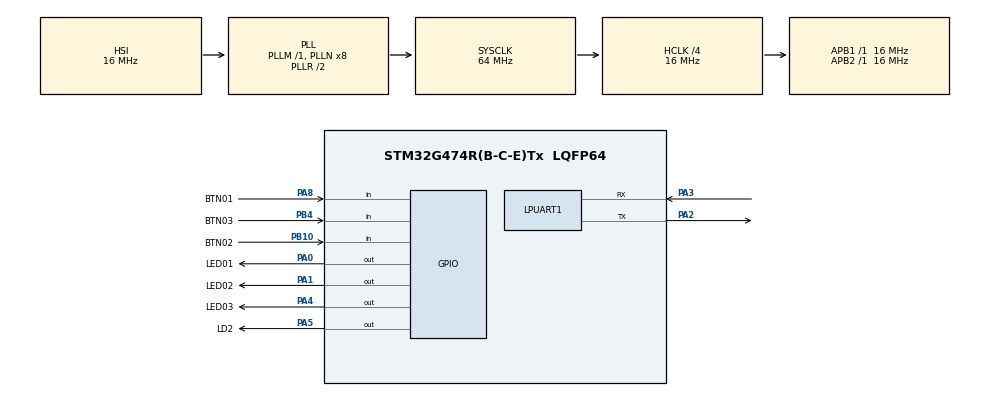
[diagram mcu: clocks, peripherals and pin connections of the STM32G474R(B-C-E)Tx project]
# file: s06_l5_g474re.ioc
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Mcu.Family=STM32G4
Mcu.Name=STM32G474R(B-C-E)Tx
Mcu.Package=LQFP64
NVIC.PriorityGroup=NVIC_PRIORITYGROUP_4
NVIC.TIM1_BRK_TIM15_IRQn=true\:15\:0\:false\:false\:true\:false\:true\:true
NVIC.TimeBase=TIM1_BRK_TIM15_IRQn
NVIC.TimeBaseIP=TIM15
PA0.GPIO_Label=LED01
PA0.Signal=GPIO_Output
PA1.GPIO_Label=LED02
PA1.Signal=GPIO_Output
PA13.Mode=Serial_Wire
PA13.Signal=SYS_JTMS-SWDIO
PA14.Mode=Serial_Wire
PA14.Signal=SYS_JTCK-SWCLK
PA2.Mode=Asynchronous
PA2.Signal=LPUART1_TX
PA3.Mode=Asynchronous
PA3.Signal=LPUART1_RX
PA4.GPIO_Label=LED03
PA4.Signal=GPIO_Output
PA5.GPIO_Label=LD2
PA5.Signal=GPIO_Output
PA8.GPIO_Label=BTN01
PA8.GPIO_PuPd=GPIO_PULLUP
PA8.Signal=GPIO_Input
PB10.GPIO_Label=BTN02
PB10.GPIO_PuPd=GPIO_PULLUP
PB10.Signal=GPIO_Input
PB4.GPIO_Label=BTN03
PB4.GPIO_PuPd=GPIO_PULLUP
PB4.Signal=GPIO_Input
ProjectManager.HeapSize=0x200
ProjectManager.StackSize=0x400
ProjectManager.TargetToolchain=STM32CubeIDE
RCC.ADC12Freq_Value=64000000
RCC.ADC345Freq_Value=64000000
RCC.AHBCLKDivider=RCC_SYSCLK_DIV4
RCC.AHBFreq_Value=16000000
RCC.APB1Freq_Value=16000000
RCC.APB1TimFreq_Value=16000000
RCC.APB2Freq_Value=16000000
RCC.APB2TimFreq_Value=16000000
RCC.CortexFreq_Value=16000000
RCC.EXTERNAL_CLOCK_VALUE=12288000
RCC.HCLKFreq_Value=16000000
RCC.HSE_VALUE=24000000
RCC.HSI48_VALUE=48000000
RCC.HSI_VALUE=16000000
RCC.LSE_VALUE=32768
RCC.RTCClockSelection=RCC_RTCCLKSOURCE_LSE
RCC.SYSCLKFreq_VALUE=64000000
RCC.SYSCLKSource=RCC_SYSCLKSOURCE_PLLCLK
RCC.USBFreq_Value=64000000
RCC.VCOOutputFreq_Value=128000000
VP_SYS_VS_DBSignals.Mode=DisableDeadBatterySignals
VP_SYS_VS_tim15.Mode=TIM15
board=NUCLEO-G474RE

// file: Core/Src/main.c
/* USER CODE BEGIN Header */
/**
  ******************************************************************************
  * @file           : main.c
  * @brief          : Main program body
  ******************************************************************************
  * @attention
  *
  * Copyright (c) 2026 STMicroelectronics.
  * All rights reserved.
  *
  * This software is licensed under terms that can be found in the LICENSE file
  * in the root directory of this software component.
  * If no LICENSE file comes with this software, it is provided AS-IS.
  *
  ******************************************************************************

  */
/* USER CODE END Header */
#include "main.h"

/* USER CODE BEGIN Includes */
#include <stdio.h>
#include <string.h>
#include "FreeRTOS.h"
#include "task.h"
#include <queue.h>
/* USER CODE END Includes */

UART_HandleTypeDef hlpuart1;

/* USER CODE BEGIN PV */

UBaseType_t xWaterMark01 = 0, xWaterMark02 = 0, xWaterMark03 = 0, xWaterMark04 = 0;

QueueHandle_t xQueue01 = NULL, xQueue02 = NULL, xQueue03 = NULL;

QueueSetHandle_t xQueueSet01 = NULL;

/* USER CODE END PV */

void SystemClock_Config(void);
static void MX_GPIO_Init(void);
static void MX_LPUART1_UART_Init(void);

/* USER CODE BEGIN 0 */

/* Hardware realted functions */

// Led interno da NUCLEO-G474RE
void LedLD2On(){
	HAL_GPIO_WritePin(LD2_GPIO_Port, LD2_Pin, GPIO_PIN_SET);
}

void LedLD2Off(){
	HAL_GPIO_WritePin(LD2_GPIO_Port, LD2_Pin, GPIO_PIN_RESET);
}

// PA0
void Led01On(){
	HAL_GPIO_WritePin(LED01_GPIO_Port, LED01_Pin, GPIO_PIN_SET);
}

void Led01Off(){
	HAL_GPIO_WritePin(LED01_GPIO_Port, LED01_Pin, GPIO_PIN_RESET);
}

// PA1
void Led02On(){
	HAL_GPIO_WritePin(LED02_GPIO_Port, LED02_Pin, GPIO_PIN_SET);
}

void Led02Off(){
	HAL_GPIO_WritePin(LED02_GPIO_Port, LED02_Pin, GPIO_PIN_RESET);
}

// PA4
void Led03On(){
	HAL_GPIO_WritePin(LED03_GPIO_Port, LED03_Pin, GPIO_PIN_SET);
}

void Led03Off(){
	HAL_GPIO_WritePin(LED03_GPIO_Port, LED03_Pin, GPIO_PIN_RESET);
}

/* Local functions*/

/* Tasks */
void TaskEntree(void *pvParams){
	char *pcMenu = "Entree Manu\n";

	while (1){
		// retorna a quantidade mínima de espaço livre que restou na pilha
		xWaterMark01 = uxTaskGetStackHighWaterMark( NULL );

		// Logica do botão presionado
		if(HAL_GPIO_ReadPin(BTN01_GPIO_Port, BTN01_Pin) == GPIO_PIN_RESET){

			// Enviando para a fila
			xQueueSend(xQueue01, &pcMenu, 0);
			vTaskDelay(pdMS_TO_TICKS(250));
			Led01On();

			// Debounce
			while (HAL_GPIO_ReadPin(BTN01_GPIO_Port, BTN01_Pin) == GPIO_PIN_RESET){
				vTaskDelay(pdMS_TO_TICKS(10));
			}
			vTaskDelay(pdMS_TO_TICKS(50));
		}
	}
}

void TaskMainCouser(void *pvParams){
	char *pcMenu = "Main Course\n";

	while (1){
		// retorna a quantidade mínima de espaço livre que restou na pilha
		xWaterMark02 = uxTaskGetStackHighWaterMark( NULL );

		// Logica do botão presionado
		if(HAL_GPIO_ReadPin(BTN02_GPIO_Port, BTN02_Pin) == GPIO_PIN_RESET){

			// Enviando para a fila
			xQueueSend(xQueue02, &pcMenu, 0);
			vTaskDelay(pdMS_TO_TICKS(250));
			Led02On();

			// Debounce
			while (HAL_GPIO_ReadPin(BTN02_GPIO_Port, BTN02_Pin) == GPIO_PIN_RESET){
				vTaskDelay(pdMS_TO_TICKS(10));
			}
			vTaskDelay(pdMS_TO_TICKS(50));
		}
	}
}

void TaskDessert(void *pvParams){
	char *pcMenu = "Dessert Menu\n";

	while (1){
		// retorna a quantidade mínima de espaço livre que restou na pilha
		xWaterMark03 = uxTaskGetStackHighWaterMark( NULL );

		// Logica do botão presionado
		if(HAL_GPIO_ReadPin(BTN03_GPIO_Port, BTN03_Pin) == GPIO_PIN_RESET){

			// Enviando para a fila
			xQueueSend(xQueue03, &pcMenu, 0);
			vTaskDelay(pdMS_TO_TICKS(250));
			Led03On();

			// Debounce
			while (HAL_GPIO_ReadPin(BTN03_GPIO_Port, BTN03_Pin) == GPIO_PIN_RESET){
				vTaskDelay(pdMS_TO_TICKS(10));
			}
			vTaskDelay(pdMS_TO_TICKS(50));
		}
	}
}

void TaskPrinter(void *pvParams){
	char *pcMenu;
	QueueSetMemberHandle_t xActiveMember;
	xQueueSet01 = xQueueCreateSet(3+3+3);

	// Adicionando as filas na QueueSet
	xQueueAddToSet(xQueue01, xQueueSet01);
	xQueueAddToSet(xQueue02, xQueueSet01);
	xQueueAddToSet(xQueue03, xQueueSet01);

	while (1){
		// retorna a quantidade mínima de espaço livre que restou na pilha
		xWaterMark04 = uxTaskGetStackHighWaterMark( NULL );

		xActiveMember = xQueueSelectFromSet(xQueueSet01, portMAX_DELAY);

		xQueueReceive((QueueHandle_t)xActiveMember, &pcMenu, (TickType_t) 0);

		printf("%s", pcMenu);
		Led01Off(); Led02Off(); Led03Off();
	}
}
/* Hooks*/
void vApplicationStackOverflowHook( TaskHandle_t xTask, char *pcTaskName ){
	Error_Handler();
	LedLD2Off();
}

/* USER CODE END 0 */

int main(void)
{

  /* USER CODE BEGIN 1 */
	TaskHandle_t TaskHandle01, TaskHandle02, TaskHandle03, TaskHandle04;
	BaseType_t xReturn;
	BaseType_t uxStackDepth = 164; // em words

  /* USER CODE END 1 */

  /* MCU Configuration--------------------------------------------------------*/

  /* Reset of all peripherals, Initializes the Flash interface and the Systick. */
  HAL_Init();

  /* Configure the system clock */
  SystemClock_Config();

  /* Initialize all configured peripherals */
  MX_GPIO_Init();
  MX_LPUART1_UART_Init();
  /* USER CODE BEGIN 2 */

  LedLD2On();

  // Criando as task
  xReturn = xTaskCreate(TaskEntree,
  		  "Task Entree",
		  uxStackDepth,
  		  NULL,
  		  1,
  		  &TaskHandle01);

  if (xReturn != pdPASS){
    Error_Handler();
  }

  xReturn = xTaskCreate(TaskMainCouser,
  		  "Task Main Couser",
		  uxStackDepth,
  		  NULL,
  		  1,
  		  &TaskHandle02);

  if (xReturn != pdPASS){
    Error_Handler();
  }

  xReturn = xTaskCreate(TaskDessert,
			"Task Dessert",
			uxStackDepth,
			NULL,
			1,
			&TaskHandle03);

  if (xReturn != pdPASS){
	 Error_Handler();
  }

  xReturn = xTaskCreate(TaskPrinter,
			"Task Printer",
			uxStackDepth,
			NULL,
			1,
			&TaskHandle04);

  if (xReturn != pdPASS){
	 Error_Handler();
  }

  // Criando a fila
  xQueue01 = xQueueCreate(3, sizeof(char*));
  xQueue02 = xQueueCreate(3, sizeof(char*));
  xQueue03 = xQueueCreate(3, sizeof(char*));

  /* USER CODE END 2 */

  /* Infinite loop */
  /* USER CODE BEGIN WHILE */

  // Inicializando o FreeRTOS
  vTaskStartScheduler();

  /* Never reaches here */
  while (1)
  {
    /* USER CODE END WHILE */

  }
}

void SystemClock_Config(void)
{
  RCC_OscInitTypeDef RCC_OscInitStruct = {0};
  RCC_ClkInitTypeDef RCC_ClkInitStruct = {0};

  /** Configure the main internal regulator output voltage
  */
  HAL_PWREx_ControlVoltageScaling(PWR_REGULATOR_VOLTAGE_SCALE1);

  /** Initializes the RCC Oscillators according to the specified parameters
  * in the RCC_OscInitTypeDef structure.
  */
  RCC_OscInitStruct.OscillatorType = RCC_OSCILLATORTYPE_HSI;
  RCC_OscInitStruct.HSIState = RCC_HSI_ON;
  RCC_OscInitStruct.HSICalibrationValue = RCC_HSICALIBRATION_DEFAULT;
  RCC_OscInitStruct.PLL.PLLState = RCC_PLL_ON;
  RCC_OscInitStruct.PLL.PLLSource = RCC_PLLSOURCE_HSI;
  RCC_OscInitStruct.PLL.PLLM = RCC_PLLM_DIV1;
  RCC_OscInitStruct.PLL.PLLN = 8;
  RCC_OscInitStruct.PLL.PLLP = RCC_PLLP_DIV2;
  RCC_OscInitStruct.PLL.PLLQ = RCC_PLLQ_DIV2;
  RCC_OscInitStruct.PLL.PLLR = RCC_PLLR_DIV2;
  if (HAL_RCC_OscConfig(&RCC_OscInitStruct) != HAL_OK)
  {
    Error_Handler();
  }

  /** Initializes the CPU, AHB and APB buses clocks
  */
  RCC_ClkInitStruct.ClockType = RCC_CLOCKTYPE_HCLK|RCC_CLOCKTYPE_SYSCLK
                              |RCC_CLOCKTYPE_PCLK1|RCC_CLOCKTYPE_PCLK2;
  RCC_ClkInitStruct.SYSCLKSource = RCC_SYSCLKSOURCE_PLLCLK;
  RCC_ClkInitStruct.AHBCLKDivider = RCC_SYSCLK_DIV4;
  RCC_ClkInitStruct.APB1CLKDivider = RCC_HCLK_DIV1;
  RCC_ClkInitStruct.APB2CLKDivider = RCC_HCLK_DIV1;

  if (HAL_RCC_ClockConfig(&RCC_ClkInitStruct, FLASH_LATENCY_0) != HAL_OK)
  {
    Error_Handler();
  }
}

static void MX_LPUART1_UART_Init(void)
{

  hlpuart1.Instance = LPUART1;
  hlpuart1.Init.BaudRate = 115200;
  hlpuart1.Init.WordLength = UART_WORDLENGTH_8B;
  hlpuart1.Init.StopBits = UART_STOPBITS_1;
  hlpuart1.Init.Parity = UART_PARITY_NONE;
  hlpuart1.Init.Mode = UART_MODE_TX_RX;
  hlpuart1.Init.HwFlowCtl = UART_HWCONTROL_NONE;
  hlpuart1.Init.OneBitSampling = UART_ONE_BIT_SAMPLE_DISABLE;
  hlpuart1.Init.ClockPrescaler = UART_PRESCALER_DIV1;
  hlpuart1.AdvancedInit.AdvFeatureInit = UART_ADVFEATURE_NO_INIT;
  if (HAL_UART_Init(&hlpuart1) != HAL_OK)
  {
    Error_Handler();
  }
  if (HAL_UARTEx_SetTxFifoThreshold(&hlpuart1, UART_TXFIFO_THRESHOLD_1_8) != HAL_OK)
  {
    Error_Handler();
  }
  if (HAL_UARTEx_SetRxFifoThreshold(&hlpuart1, UART_RXFIFO_THRESHOLD_1_8) != HAL_OK)
  {
    Error_Handler();
  }
  if (HAL_UARTEx_DisableFifoMode(&hlpuart1) != HAL_OK)
  {
    Error_Handler();
  }

}

static void MX_GPIO_Init(void)
{
  GPIO_InitTypeDef GPIO_InitStruct = {0};

  /* GPIO Ports Clock Enable */
  __HAL_RCC_GPIOA_CLK_ENABLE();
  __HAL_RCC_GPIOB_CLK_ENABLE();

  /*Configure GPIO pin Output Level */
  HAL_GPIO_WritePin(GPIOA, LED01_Pin|LED02_Pin|LED03_Pin|LD2_Pin, GPIO_PIN_RESET);

  /*Configure GPIO pins : LED01_Pin LED02_Pin LED03_Pin LD2_Pin */
  GPIO_InitStruct.Pin = LED01_Pin|LED02_Pin|LED03_Pin|LD2_Pin;
  GPIO_InitStruct.Mode = GPIO_MODE_OUTPUT_PP;
  GPIO_InitStruct.Pull = GPIO_NOPULL;
  GPIO_InitStruct.Speed = GPIO_SPEED_FREQ_LOW;
  HAL_GPIO_Init(GPIOA, &GPIO_InitStruct);

  /*Configure GPIO pins : BTN02_Pin BTN03_Pin */
  GPIO_InitStruct.Pin = BTN02_Pin|BTN03_Pin;
  GPIO_InitStruct.Mode = GPIO_MODE_INPUT;
  GPIO_InitStruct.Pull = GPIO_PULLUP;
  HAL_GPIO_Init(GPIOB, &GPIO_InitStruct);

  /*Configure GPIO pin : BTN01_Pin */
  GPIO_InitStruct.Pin = BTN01_Pin;
  GPIO_InitStruct.Mode = GPIO_MODE_INPUT;
  GPIO_InitStruct.Pull = GPIO_PULLUP;
  HAL_GPIO_Init(BTN01_GPIO_Port, &GPIO_InitStruct);

}

/* USER CODE BEGIN 4 */

// Redireciona os Prints para a USART
int __io_putchar(int ch){
	HAL_UART_Transmit(&hlpuart1, (uint8_t*)&ch, 1, HAL_MAX_DELAY);
	return ch;
}
/* USER CODE END 4 */

void HAL_TIM_PeriodElapsedCallback(TIM_HandleTypeDef *htim)
{
  if (htim->Instance == TIM15)
  {
    HAL_IncTick();
  }
}

void Error_Handler(void)
{
  __disable_irq();
  while (1)
  {
  }
}
